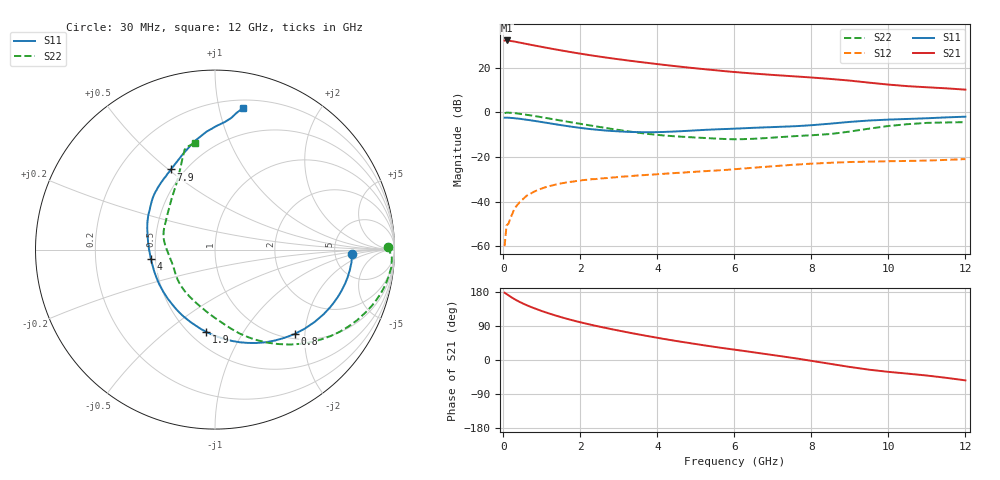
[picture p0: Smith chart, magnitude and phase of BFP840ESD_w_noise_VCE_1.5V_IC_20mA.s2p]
! Infineon Technologies  Discrete & RF Semiconductors
! BFP840ESD
! VCE =  1.5 V,  IC =  20 mA
! Common Emitter S-Parameters:  May 2012
# GHz  S  MA  R  50
!  f  S11  S21  S12  S22
! GHz  MAG  ANG  MAG  ANG  MAG  ANG  MAG  ANG
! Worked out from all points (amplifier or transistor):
!   93 points, 30 MHz to 12 GHz, reference 50 ohm
!   highest |S21| = 32.3 dB at 80 MHz (marker M1)
!   |S21| within 3 dB of that: start of sweep to 1.032 GHz
!   unconditionally stable (mu >= 1): 4.835 GHz to 8.491 GHz
!   at 1.1 GHz: K = 0.40, MSG = 31.3 dB, |S12| = -33.5 dB
!   at 4.2 GHz: K = 0.95, MSG = 24.4 dB, |S12| = -27.5 dB
!   at 12 GHz: K = 0.75, MSG = 15.6 dB, |S12| = -20.9 dB
!   lowest NFmin = 1.16 dB at 450 MHz
!   S11 on the Smith chart (normalised r, x): 30 MHz: 7.32, -0.89; 800 MHz: 1.10, -1.77; 1.9 GHz: 0.60, -0.70; 4 GHz: 0.47, -0.06; 7.9 GHz: 0.42, +0.51; 12 GHz: 0.27, +1.18
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0.03  0.7628 -1.9  40.73 177.6  0.001 130.9  0.9646 0.9
0.08  0.7639 -5.3  41.07 174.1  0.0029 81.2  0.9865 -2.6
0.23  0.7488 -14.9  39.51 164.1  0.0053 79.9  0.9726 -10.8
0.38  0.7253 -23.9  37.34 155.4  0.0088 76.7  0.9402 -17.6
0.6  0.6853 -36.2  34.28 144.8  0.0135 69.6  0.8845 -26.4
0.8  0.6463 -46.7  31.75 136.6  0.0167 64.2  0.831 -33.5
1  0.6068 -56.6  29.43 129.1  0.0197 59.9  0.7776 -39.9
1.3  0.5512 -70.6  26.34 119.1  0.0234 54.2  0.7012 -48.6
1.6  0.5021 -83.7  23.72 110.1  0.0265 49.6  0.6323 -56.3
1.9  0.4608 -96.1  21.44 102.0  0.029 45.8  0.5718 -63.2
2.1  0.4377 -103.9  20.11 97.1  0.0305 44.0  0.5361 -67.5
2.5  0.4034 -119.2  17.82 87.9  0.033 40.8  0.4708 -75.6
2.9  0.3796 -133.9  15.94 79.5  0.035 38.5  0.4151 -83.6
3.4  0.3629 -151.6  14 69.6  0.0379 36.2  0.3604 -94.8
4  0.3613 -171.9  12.11 58.6  0.0411 34.0  0.3132 -110.1
4.1  0.3626 -175.1  11.83 56.8  0.0416 33.5  0.3074 -112.9
5.1  0.3998 160.6  9.538 40.5  0.0473 30.1  0.2704 -138.2
6.1  0.4354 145.3  7.921 25.9  0.054 27.5  0.2506 -161.8
7.9  0.51 118.9  6.152 -0.6  0.0701 16.6  0.3044 160.0
8.5  0.56 108.8  5.63 -10.3  0.0742 11.8  0.3278 144.4
10.5  0.713 85.6  3.876 -36.0  0.0816 -3.1  0.5446 109.3
12  0.8016 78.9  3.239 -53.7  0.0897 -10.5  0.6037 100.9
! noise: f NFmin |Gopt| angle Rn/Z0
0.45  1.16  0.06  2  0.13
0.9  1.17  0.03  -10  0.13
1.5  1.18  0.03  -24  0.12
1.9  1.18  0.02  -48  0.12
2.4  1.19  0.03  -94  0.11
3.5  1.19  0.07  -118  0.11
5.5  1.23  0.15  -118  0.13
8  1.32  0.31  -109  0.16
10  1.41  0.53  -77  0.26
12  1.58  0.66  -65  0.36
